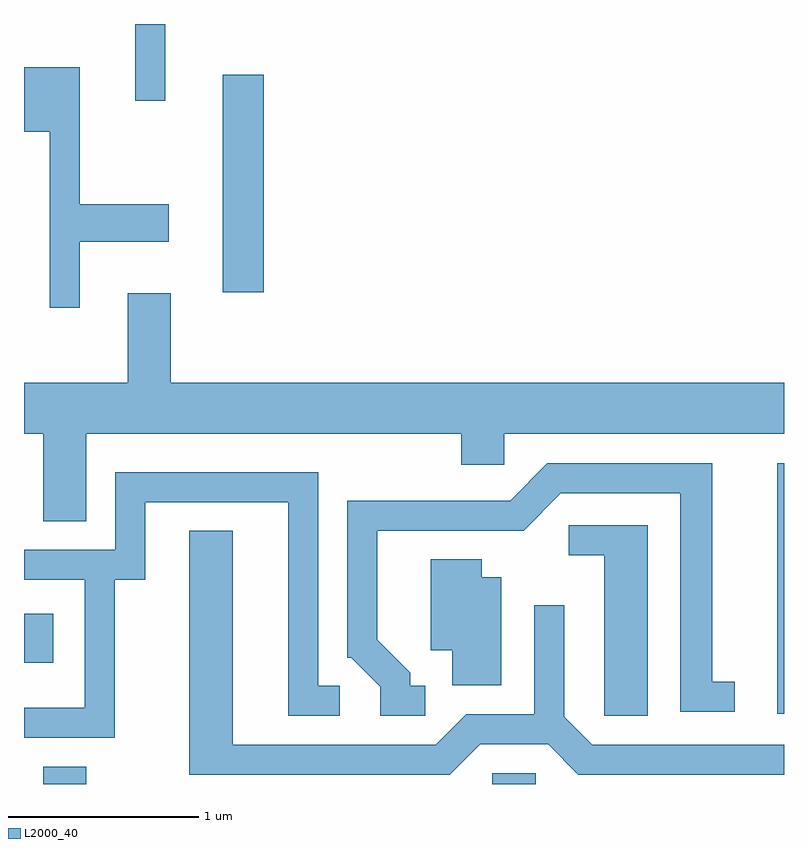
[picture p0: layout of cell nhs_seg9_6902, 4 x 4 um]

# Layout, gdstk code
import gdstk
lib = gdstk.Library(unit=1e-6, precision=1e-09)
def R(c, l, rs):  # rectangles x0, y0, x1, y1
    for r in rs: c.add(gdstk.rectangle(r[:2], r[2:], *l))
def P(c, l, *ps):  # polygons
    for p in ps: c.add(gdstk.Polygon(p, *l))
L2000_40 = (2000, 40)

nhs_seg9_6902 = lib.new_cell('nhs_seg9_6902')
R(nhs_seg9_6902, L2000_40, [(389.711,1974.432,389.939,1974.524), (392.076,1974.432,392.304,1974.489), (393.576,1974.801,393.611,1976.119), (389.611,1975.071,389.764,1975.329), (390.656,1977.021,390.874,1978.164), (390.196,1978.028,390.354,1978.432)])
P(nhs_seg9_6902, L2000_40, [(389.904,1977.286),(390.374,1977.286),(390.374,1977.484),(389.904,1977.484),(389.904,1978.204),(389.611,1978.204),(389.611,1977.866),(389.746,1977.866),(389.746,1976.938),(389.904,1976.938)],
  [(389.939,1976.276),(391.911,1976.276),(391.911,1976.111),(392.139,1976.111),(392.139,1976.276),(393.611,1976.276),(393.611,1976.544),(390.384,1976.544),(390.384,1977.014),(390.156,1977.014),(390.156,1976.544),(389.611,1976.544),(389.611,1976.276),(389.711,1976.276),(389.711,1975.816),(389.939,1975.816)],
  [(391.723,1974.949),(391.644,1974.949),(391.644,1975.017),(391.469,1975.192),(391.469,1975.766),(392.242,1975.766),(392.437,1975.961),(393.066,1975.961),(393.066,1974.811),(393.353,1974.811),(393.353,1974.969),(393.234,1974.969),(393.234,1976.119),(392.364,1976.119),(392.169,1975.924),(391.311,1975.924),(391.311,1975.096),(391.334,1975.096),(391.486,1974.944),(391.486,1974.791),(391.723,1974.791)],
  [(390.089,1975.506),(390.249,1975.506),(390.249,1975.916),(391.001,1975.916),(391.001,1974.791),(391.273,1974.791),(391.273,1974.949),(391.159,1974.949),(391.159,1976.074),(390.091,1976.074),(390.091,1975.664),(389.611,1975.664),(389.611,1975.506),(389.931,1975.506),(389.931,1974.834),(389.611,1974.834),(389.611,1974.676),(390.089,1974.676)],
  [(392.894,1975.794),(392.478,1975.794),(392.478,1975.636),(392.666,1975.636),(392.666,1974.791),(392.894,1974.791)],
  [(392.012,1974.641),(392.369,1974.641),(392.529,1974.481),(393.611,1974.481),(393.611,1974.639),(392.602,1974.639),(392.454,1974.787),(392.454,1975.373),(392.296,1975.373),(392.296,1974.799),(391.939,1974.799),(391.779,1974.639),(390.709,1974.639),(390.709,1975.764),(390.481,1975.764),(390.481,1974.481),(391.852,1974.481)],
  [(392.124,1975.519),(392.019,1975.519),(392.019,1975.614),(391.751,1975.614),(391.751,1975.136),(391.866,1975.136),(391.866,1974.951),(392.124,1974.951)])

lib.write_gds('nhs_seg9_6902.gds')
